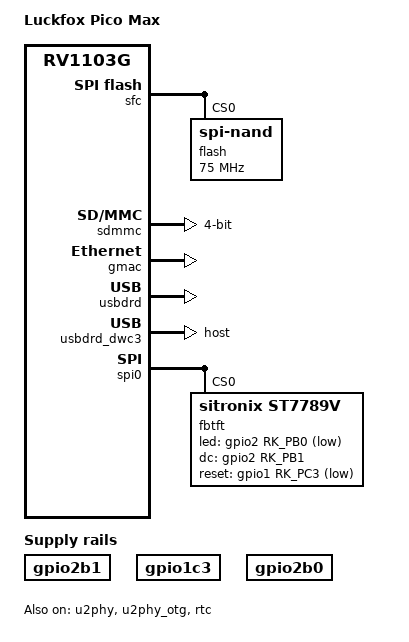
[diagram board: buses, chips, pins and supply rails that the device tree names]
// SPDX-License-Identifier: (GPL-2.0+ OR MIT)
/*
 * Copyright (c) 2022 Rockchip Electronics Co., Ltd.
 */

/dts-v1/;

#include "rv1106.dtsi"
#include "rv1106-evb.dtsi"
#include "rv1106-luckfox-pico-pro-max-ipc.dtsi"

/ {
	model = "Luckfox Pico Max";
	compatible = "rockchip,rv1103g-38x38-ipc-v10", "rockchip,rv1106g3";

	/*LCD_DC*/
	gpio2b1:gpio2b1 {  // 原：gpio1pa2
		compatible = "regulator-fixed";
		pinctrl-names = "default";
		pinctrl-0 = <&gpio2_b1>;  // 原：gpio1_pa2
		regulator-name = "gpio2_b1";  // 原：gpio1_pa2
		regulator-always-on; 
    };

	/*LCD_RST*/
	gpio1c3:gpio1c3 {  // 原：gpio1pc3
		compatible = "regulator-fixed";
		pinctrl-names = "default";
		pinctrl-0 = <&gpio1_c3>;  // 原：gpio1_pc3
		regulator-name = "gpio1_c3";  // 原：gpio1_pc3
		regulator-always-on; 
	};

	/*LCD_BL*/
	gpio2b0:gpio2b0 {  // 原：gpio0pa4
		compatible = "regulator-fixed";
		pinctrl-names = "default";
		pinctrl-0 = <&gpio2_b0>;  // 原：gpio0_pa4
		regulator-name = "gpio2_b0";  // 原：gpio0_pa4
		regulator-always-on; 
    };

};

&pinctrl{
	gpio2-b1 {  // 新增（原gpio1-pa2保留）
		gpio2_b1:gpio2_b1 {  // DC新引脚
			rockchip,pins = <2 RK_PB1 RK_FUNC_GPIO &pcfg_pull_none>;
        };
    };

    gpio1-c3 {  // 修改（原gpio1-pc3保留）
        gpio1_c3:gpio1_c3 {  // RST引脚
            rockchip,pins = <1 RK_PC3 RK_FUNC_GPIO &pcfg_pull_none>;
        };
    };

    gpio2-b0 {  // 新增（原gpio0-pa4保留）
        gpio2_b0:gpio2_b0 {  // BL新引脚
            rockchip,pins = <2 RK_PB0 RK_FUNC_GPIO &pcfg_pull_none>;
        };
    };

};


/**********CRU**********/
//&cru {
//	assigned-clocks =
//		<&cru PLL_GPLL>, <&cru PLL_CPLL>,
//		<&cru ARMCLK>,
//		<&cru ACLK_PERI_ROOT>, <&cru HCLK_PERI_ROOT>,
//		<&cru PCLK_PERI_ROOT>, <&cru ACLK_BUS_ROOT>,
//		<&cru PCLK_TOP_ROOT>, <&cru PCLK_PMU_ROOT>,
//		<&cru HCLK_PMU_ROOT>, <&cru CLK_500M_SRC>;
//	assigned-clock-rates =
//		<1188000000>, <700000000>,
//		<1104000000>,
//		<400000000>, <200000000>,
//		<100000000>, <300000000>,
//		<100000000>, <100000000>,
//		<200000000>, <700000000>;
//};

/**********NPU**********/
//&npu {
//	assigned-clock-rates = <700000000>;
//};

/**********FLASH**********/
&sfc {
	status = "okay";
	flash@0 {
		compatible = "spi-nand";
		reg = <0>;
		spi-max-frequency = <75000000>;
		spi-rx-bus-width = <4>;
		spi-tx-bus-width = <1>;
	};
};

/**********SDMMC**********/
&sdmmc {
	max-frequency = <50000000>;
	no-sdio;
	no-mmc;
	bus-width = <4>;
	cap-mmc-highspeed;
	cap-sd-highspeed;
	disable-wp;
	pinctrl-names = "default";
	pinctrl-0 = <&sdmmc0_clk &sdmmc0_cmd &sdmmc0_det &sdmmc0_bus4>;
	status = "okay";
};

/**********ETH**********/
&gmac {
	status = "okay";
};

/**********USB**********/
&u2phy {
	status = "okay";
};

&u2phy_otg {
	rockchip,dis-u2-susphy;
	status = "okay";
};

&usbdrd {
	status = "okay";
};

&usbdrd_dwc3 {
	status = "okay";
	dr_mode = "host";
};

/**********SPI**********/
// &spi0 {
// 	status = "disabled";
// 	spidev@0 {
// 		spi-max-frequency = <50000000>;
// 	};
//   fbtft@0 {
// 		spi-max-frequency = <50000000>;
//   };
// };

&spi0 {
    status = "okay";
    pinctrl-names = "default";
    pinctrl-0 = <&spi0m0_clk &spi0m0_mosi &spi0m0_cs0>;

	spidev@0 {
		status = "disabled";
	};
    
    fbtft@0 {                        
        status = "okay";
        compatible = "sitronix,st7789v"; 
        reg = <0>;            
        fps = <30>;
        buswidth = <8>;
        debug = <0x7>;
        led-gpios = <&gpio2 RK_PB0 GPIO_ACTIVE_LOW>;  // 原：gpio0_pa4
        dc = <&gpio2 RK_PB1 GPIO_ACTIVE_HIGH>;        // 原：gpio1_pa2
        reset = <&gpio1 RK_PC3 GPIO_ACTIVE_LOW>;      // 原：gpio1_pc3
    };
};

/**********I2C**********/
/* I2C3_M1 */
&i2c3 {
	status = "disabled";
	clock-frequency = <100000>;
};

/* I2C1_M1 */
&i2c1 {
	status = "disabled";
	clock-frequency = <100000>;
};


/**********UART**********/
/* UART3_M1 */
&uart3 {
	status = "disabled";
};

/* UART4_M1 */
&uart4 {
	status = "disabled";
};

/**********RTC**********/
&rtc {
	status = "okay";
};
